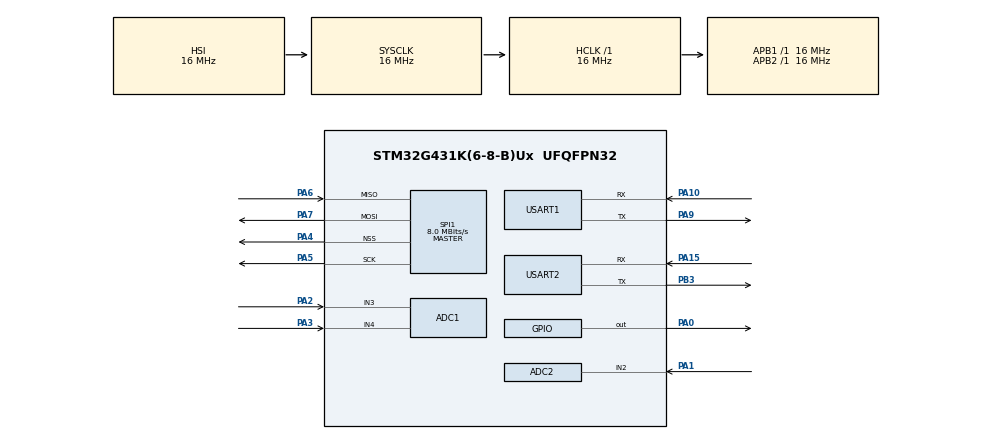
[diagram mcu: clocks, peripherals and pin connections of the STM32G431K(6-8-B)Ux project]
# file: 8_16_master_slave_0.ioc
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ADC1.Channel-0\#ChannelRegularConversion=ADC_CHANNEL_3
ADC1.NbrOfConversionFlag=1
ADC1.OffsetNumber-0\#ChannelRegularConversion=ADC_OFFSET_NONE
ADC1.Rank-0\#ChannelRegularConversion=1
ADC1.SamplingTime-0\#ChannelRegularConversion=ADC_SAMPLETIME_2CYCLES_5
ADC1.master=1
ADC2.Channel-0\#ChannelRegularConversion=ADC_CHANNEL_2
ADC2.NbrOfConversionFlag=1
ADC2.OffsetNumber-0\#ChannelRegularConversion=ADC_OFFSET_NONE
ADC2.Rank-0\#ChannelRegularConversion=1
ADC2.SamplingTime-0\#ChannelRegularConversion=ADC_SAMPLETIME_2CYCLES_5
Mcu.Family=STM32G4
Mcu.Name=STM32G431K(6-8-B)Ux
Mcu.Package=UFQFPN32
NVIC.PriorityGroup=NVIC_PRIORITYGROUP_4
PA0.Signal=GPIO_Output
PA1.Mode=IN2-Single-Ended
PA1.Signal=ADC2_IN2
PA10.Mode=Asynchronous
PA10.Signal=USART1_RX
PA13.Mode=Serial_Wire
PA13.Signal=SYS_JTMS-SWDIO
PA14.Mode=Serial_Wire
PA14.Signal=SYS_JTCK-SWCLK
PA15.Mode=Asynchronous
PA15.Signal=USART2_RX
PA2.Mode=IN3-Single-Ended
PA2.Signal=ADC1_IN3
PA3.Mode=IN4-Single-Ended
PA3.Signal=ADC1_IN4
PA4.Mode=NSS_Signal_Hard_Output
PA4.Signal=SPI1_NSS
PA5.Mode=Full_Duplex_Master
PA5.Signal=SPI1_SCK
PA6.Mode=Full_Duplex_Master
PA6.Signal=SPI1_MISO
PA7.Mode=Full_Duplex_Master
PA7.Signal=SPI1_MOSI
PA9.Mode=Asynchronous
PA9.Signal=USART1_TX
PB3.Mode=Asynchronous
PB3.Signal=USART2_TX
PF0-OSC_IN.Mode=HSE-External-Clock-Source
PF0-OSC_IN.Signal=RCC_OSC_IN
ProjectManager.HeapSize=0x200
ProjectManager.StackSize=0x400
ProjectManager.TargetToolchain=STM32CubeIDE
RCC.AHBFreq_Value=16000000
RCC.APB1Freq_Value=16000000
RCC.APB1TimFreq_Value=16000000
RCC.APB2Freq_Value=16000000
RCC.APB2TimFreq_Value=16000000
RCC.CortexFreq_Value=16000000
RCC.EXTERNAL_CLOCK_VALUE=12288000
RCC.HCLKFreq_Value=16000000
RCC.HSE_VALUE=8000000
RCC.HSI48_VALUE=48000000
RCC.HSI_VALUE=16000000
RCC.LSE_VALUE=32768
RCC.SYSCLKFreq_VALUE=16000000
RCC.USBFreq_Value=64000000
RCC.VCOOutputFreq_Value=128000000
SPI1.CalculateBaudRate=8.0 MBits/s
SPI1.Direction=SPI_DIRECTION_2LINES
SPI1.Mode=SPI_MODE_MASTER
SPI1.VirtualNSS=VM_NSSHARD
SPI1.VirtualType=VM_MASTER
USART1.VirtualMode-Asynchronous=VM_ASYNC
USART2.VirtualMode-Asynchronous=VM_ASYNC
VP_SYS_VS_DBSignals.Mode=DisableDeadBatterySignals
board=custom

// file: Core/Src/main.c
/* USER CODE BEGIN Header */
/**
 ******************************************************************************
 * @file           : main.c
 * @brief          : Main program body
 ******************************************************************************
 * @attention
 *
 * Includes full QEC.
 * Note: feature toggles / preprocessor macros / compile-time flags -> in main.h
 *
 * TODO: (coming next)
 * From modem.ino:		loopback_timing_test(), calibrate_spectral_tilt()
 * From spsa.ino:		spsa_adapt_CIC() and all its helper functions (write_CICLUTS, randn, etc.)
 * From captures.ino:	sdm_capture()
 * From verify.ino:		verify_cordic_atan2()
 * From max2850.ino:	set_bb_loopback()
 *
 ******************************************************************************
 */
/* USER CODE END Header */
#include "main.h"

/* USER CODE BEGIN Includes */
#include "app_log.h"	// UART printing
#include "fpga.h"
#include "max2850.h"
#include "max2851.h"
#include "fpga_regs.h"
#include "qec.h"
#include "captures.h"
#include "modem.h"
/* USER CODE END Includes */

/* USER CODE BEGIN PD */
// defines for testing
#define TEST_TX_GAIN 0x10 // TX power
#define TEST_TX_CHANNEL_MASK 0x01 // Use channel 1
#define TEST_RX_GAIN 15 // Receive gain
#define TEST_RX_CHANNEL 1 // Channel 1
#define TEST_TONE_FREQ_MHZ 5.0f // Transmit 5 MHz tone

/* USER CODE END PD */

ADC_HandleTypeDef hadc1;
ADC_HandleTypeDef hadc2;

SPI_HandleTypeDef hspi1;

UART_HandleTypeDef huart1;
UART_HandleTypeDef huart2;

void SystemClock_Config(void);
static void MX_GPIO_Init(void);
static void MX_ADC1_Init(void);
static void MX_ADC2_Init(void);
static void MX_SPI1_Init(void);
static void MX_USART1_UART_Init(void);
static void MX_USART2_UART_Init(void);
/* USER CODE BEGIN PFP */
void print_message(const char *message); // UART print (the same as app_log)
UART_HandleTypeDef* get_debug_uart(void); // access to debug UART handle
/* USER CODE END PFP */

int main(void) {

	/* MCU Configuration--------------------------------------------------------*/

	/* Reset of all peripherals, Initializes the Flash interface and the Systick. */
	HAL_Init();

	/* Configure the system clock */
	SystemClock_Config();

	/* Initialize all configured peripherals */
	MX_GPIO_Init();
	MX_ADC1_Init();
	MX_ADC2_Init();
	MX_SPI1_Init();
	MX_USART1_UART_Init();
	MX_USART2_UART_Init();
	/* USER CODE BEGIN 2 */
	app_log("\r\n- peripheral init\r\n");
	fpga_init(&hspi1); // initialize SPI for FPGA
	setup_reg(); // verify SPI com
	write_max2851_base_regs();
	write_max2850_base_regs();
	fpga_reg(); // This now sets the master/slave role

	HAL_Delay(1000); // Delay to let things settle. Necessary?

	/* USER CODE END 2 */

	/* Infinite loop */
	/* USER CODE BEGIN WHILE */
#if (RUN_DEFAULT_SEQ == 1)
        app_log("- Running Default Startup Sequence -\r\n");
        app_log("- Performing self-calibration (QEC)...\r\n");
        QEC();
        app_log("- Calibration complete.\r\n");

        #if (DEVICE_ROLE == ROLE_SLAVE)
            waitForKeyPress();
            find_best_rx_vga();
        #endif

        app_log("- Entering main link mode.\r\n");
    #endif

	while (1) {
		/* USER CODE END WHILE */

		/* USER CODE BEGIN 3 */
#if (RUN_DEFAULT_SEQ == 1)
            #if (DEVICE_ROLE == ROLE_MASTER)
                app_log("Master transmitting QPSK...\r\n");
                set_Tx(TEST_TX_GAIN, TEST_TX_CHANNEL_MASK);
                HAL_Delay(1000);
            #else // SLAVE
                app_log("Slave receiving...\r\n");
                set_Rx(0); // Ensure we are in Rx mode
                // The slave now repeatedly gets metrics
                // and telemetry, using the gain found during startup.
                for (int i = 0; i < 20; i++) {
                    get_modem_metric(0);
                    rx_telem();
                    HAL_Delay(50);
                }
            #endif
        #elif (RUN_QEC_TEST == 1)
            if(DEVICE_ROLE == ROLE_SLAVE) {
                 QEC();
            } else {
                app_log("Set DEVICE_ROLE to SLAVE to run QEC test.\r\n");
                HAL_Delay(5000);
            }
        #elif (RUN_VGA_TEST == 1)
            #if (DEVICE_ROLE == ROLE_MASTER)
                app_log("Master transmitting QPSK...\r\n");
                set_Tx(TEST_TX_GAIN, TEST_TX_CHANNEL_MASK);
                HAL_Delay(1000);
            #else // SLAVE
                app_log("\r\n- Starting VGA Gain Test -\r\n");
                set_Rx(0);
                find_best_rx_vga();
                app_log("- VGA Test complete. Repeating in 5 seconds. -\r\n");
                HAL_Delay(5000);
            #endif
        #elif (RUN_GAIN_TRACK_TEST == 1)
#if (DEVICE_ROLE == ROLE_SLAVE)
		app_log("\r\n- Starting Gain Track Test -\r\n");
		set_Rx(0);
		int16_t initial_gain = find_best_rx_vga();
		gain_track(initial_gain); // This function runs forever
#else
                app_log("Master transmitting QPSK for gain track test...\r\n");
                set_Tx(TEST_TX_GAIN, TEST_TX_CHANNEL_MASK);
                HAL_Delay(1000);
            #endif
#elif (RUN_IQ_CAPTURE_TEST == 1)
            app_log("\r\n- Starting IQ Capture Test -\r\n");
            app_log("- Setting up RF loopback path...\r\n");
            set_Tx(TEST_TX_GAIN, TEST_TX_CHANNEL_MASK);
            set_Rx(TEST_RX_GAIN);
            reg_write(REG_RX_MUX, TEST_RX_CHANNEL);
            app_log("- Generating %.2f MHz tone...\r\n", TEST_TONE_FREQ_MHZ);
            set_tx_tone_freq(TEST_TONE_FREQ_MHZ);
            HAL_Delay(100);
            rx_debug_capture();
            reg_write(REG_CTRL, reg_read(REG_CTRL) & ~CTRL_FORCE_CW_TONE);
            app_log("- Test complete. Repeating in 10 seconds. -\r\n");
            HAL_Delay(10000);
        #else
            app_log("No test selected. Idling.\r\n");
            HAL_Delay(5000);
        #endif
	}

}
/* USER CODE END 3 */

void SystemClock_Config(void) {
	RCC_OscInitTypeDef RCC_OscInitStruct = { 0 };
	RCC_ClkInitTypeDef RCC_ClkInitStruct = { 0 };

	/** Configure the main internal regulator output voltage
	 */
	HAL_PWREx_ControlVoltageScaling(PWR_REGULATOR_VOLTAGE_SCALE1);

	/** Initializes the RCC Oscillators according to the specified parameters
	 * in the RCC_OscInitTypeDef structure.
	 */
	RCC_OscInitStruct.OscillatorType = RCC_OSCILLATORTYPE_HSI;
	RCC_OscInitStruct.HSIState = RCC_HSI_ON;
	RCC_OscInitStruct.HSICalibrationValue = RCC_HSICALIBRATION_DEFAULT;
	RCC_OscInitStruct.PLL.PLLState = RCC_PLL_NONE;
	if (HAL_RCC_OscConfig(&RCC_OscInitStruct) != HAL_OK) {
		Error_Handler();
	}

	/** Initializes the CPU, AHB and APB buses clocks
	 */
	RCC_ClkInitStruct.ClockType = RCC_CLOCKTYPE_HCLK | RCC_CLOCKTYPE_SYSCLK
			| RCC_CLOCKTYPE_PCLK1 | RCC_CLOCKTYPE_PCLK2;
	RCC_ClkInitStruct.SYSCLKSource = RCC_SYSCLKSOURCE_HSI;
	RCC_ClkInitStruct.AHBCLKDivider = RCC_SYSCLK_DIV1;
	RCC_ClkInitStruct.APB1CLKDivider = RCC_HCLK_DIV1;
	RCC_ClkInitStruct.APB2CLKDivider = RCC_HCLK_DIV1;

	if (HAL_RCC_ClockConfig(&RCC_ClkInitStruct, FLASH_LATENCY_0) != HAL_OK) {
		Error_Handler();
	}
}

static void MX_ADC1_Init(void) {

	ADC_MultiModeTypeDef multimode = { 0 };
	ADC_ChannelConfTypeDef sConfig = { 0 };

	/** Common config
	 */
	hadc1.Instance = ADC1;
	hadc1.Init.ClockPrescaler = ADC_CLOCK_SYNC_PCLK_DIV2;
	hadc1.Init.Resolution = ADC_RESOLUTION_12B;
	hadc1.Init.DataAlign = ADC_DATAALIGN_RIGHT;
	hadc1.Init.GainCompensation = 0;
	hadc1.Init.ScanConvMode = ADC_SCAN_DISABLE;
	hadc1.Init.EOCSelection = ADC_EOC_SINGLE_CONV;
	hadc1.Init.LowPowerAutoWait = DISABLE;
	hadc1.Init.ContinuousConvMode = DISABLE;
	hadc1.Init.NbrOfConversion = 1;
	hadc1.Init.DiscontinuousConvMode = DISABLE;
	hadc1.Init.ExternalTrigConv = ADC_SOFTWARE_START;
	hadc1.Init.ExternalTrigConvEdge = ADC_EXTERNALTRIGCONVEDGE_NONE;
	hadc1.Init.DMAContinuousRequests = DISABLE;
	hadc1.Init.Overrun = ADC_OVR_DATA_PRESERVED;
	hadc1.Init.OversamplingMode = DISABLE;
	if (HAL_ADC_Init(&hadc1) != HAL_OK) {
		Error_Handler();
	}

	/** Configure the ADC multi-mode
	 */
	multimode.Mode = ADC_MODE_INDEPENDENT;
	if (HAL_ADCEx_MultiModeConfigChannel(&hadc1, &multimode) != HAL_OK) {
		Error_Handler();
	}

	/** Configure Regular Channel
	 */
	sConfig.Channel = ADC_CHANNEL_3;
	sConfig.Rank = ADC_REGULAR_RANK_1;
	sConfig.SamplingTime = ADC_SAMPLETIME_2CYCLES_5;
	sConfig.SingleDiff = ADC_SINGLE_ENDED;
	sConfig.OffsetNumber = ADC_OFFSET_NONE;
	sConfig.Offset = 0;
	if (HAL_ADC_ConfigChannel(&hadc1, &sConfig) != HAL_OK) {
		Error_Handler();
	}

}

static void MX_ADC2_Init(void) {

	ADC_ChannelConfTypeDef sConfig = { 0 };

	/** Common config
	 */
	hadc2.Instance = ADC2;
	hadc2.Init.ClockPrescaler = ADC_CLOCK_SYNC_PCLK_DIV2;
	hadc2.Init.Resolution = ADC_RESOLUTION_12B;
	hadc2.Init.DataAlign = ADC_DATAALIGN_RIGHT;
	hadc2.Init.GainCompensation = 0;
	hadc2.Init.ScanConvMode = ADC_SCAN_DISABLE;
	hadc2.Init.EOCSelection = ADC_EOC_SINGLE_CONV;
	hadc2.Init.LowPowerAutoWait = DISABLE;
	hadc2.Init.ContinuousConvMode = DISABLE;
	hadc2.Init.NbrOfConversion = 1;
	hadc2.Init.DiscontinuousConvMode = DISABLE;
	hadc2.Init.ExternalTrigConv = ADC_SOFTWARE_START;
	hadc2.Init.ExternalTrigConvEdge = ADC_EXTERNALTRIGCONVEDGE_NONE;
	hadc2.Init.DMAContinuousRequests = DISABLE;
	hadc2.Init.Overrun = ADC_OVR_DATA_PRESERVED;
	hadc2.Init.OversamplingMode = DISABLE;
	if (HAL_ADC_Init(&hadc2) != HAL_OK) {
		Error_Handler();
	}

	/** Configure Regular Channel
	 */
	sConfig.Channel = ADC_CHANNEL_2;
	sConfig.Rank = ADC_REGULAR_RANK_1;
	sConfig.SamplingTime = ADC_SAMPLETIME_2CYCLES_5;
	sConfig.SingleDiff = ADC_SINGLE_ENDED;
	sConfig.OffsetNumber = ADC_OFFSET_NONE;
	sConfig.Offset = 0;
	if (HAL_ADC_ConfigChannel(&hadc2, &sConfig) != HAL_OK) {
		Error_Handler();
	}

}

static void MX_SPI1_Init(void) {
	hspi1.Instance = SPI1;
	hspi1.Init.Mode = SPI_MODE_MASTER;
	hspi1.Init.Direction = SPI_DIRECTION_2LINES;
	hspi1.Init.DataSize = SPI_DATASIZE_8BIT;
	hspi1.Init.CLKPolarity = SPI_POLARITY_LOW;
	hspi1.Init.CLKPhase = SPI_PHASE_1EDGE;
	hspi1.Init.NSS = SPI_NSS_HARD_OUTPUT;
	hspi1.Init.BaudRatePrescaler = SPI_BAUDRATEPRESCALER_8;
	hspi1.Init.FirstBit = SPI_FIRSTBIT_MSB;
	hspi1.Init.TIMode = SPI_TIMODE_DISABLE;
	hspi1.Init.CRCCalculation = SPI_CRCCALCULATION_DISABLE;
	hspi1.Init.CRCPolynomial = 7;
	hspi1.Init.CRCLength = SPI_CRC_LENGTH_DATASIZE;
	hspi1.Init.NSSPMode = SPI_NSS_PULSE_ENABLE;
	if (HAL_SPI_Init(&hspi1) != HAL_OK) {
		Error_Handler();
	}
}

static void MX_USART1_UART_Init(void) {

	huart1.Instance = USART1;
	huart1.Init.BaudRate = 115200;
	huart1.Init.WordLength = UART_WORDLENGTH_8B;
	huart1.Init.StopBits = UART_STOPBITS_1;
	huart1.Init.Parity = UART_PARITY_NONE;
	huart1.Init.Mode = UART_MODE_TX_RX;
	huart1.Init.HwFlowCtl = UART_HWCONTROL_NONE;
	huart1.Init.OverSampling = UART_OVERSAMPLING_16;
	huart1.Init.OneBitSampling = UART_ONE_BIT_SAMPLE_DISABLE;
	huart1.Init.ClockPrescaler = UART_PRESCALER_DIV1;
	huart1.AdvancedInit.AdvFeatureInit = UART_ADVFEATURE_NO_INIT;
	if (HAL_UART_Init(&huart1) != HAL_OK) {
		Error_Handler();
	}
	if (HAL_UARTEx_SetTxFifoThreshold(&huart1, UART_TXFIFO_THRESHOLD_1_8)
			!= HAL_OK) {
		Error_Handler();
	}
	if (HAL_UARTEx_SetRxFifoThreshold(&huart1, UART_RXFIFO_THRESHOLD_1_8)
			!= HAL_OK) {
		Error_Handler();
	}
	if (HAL_UARTEx_DisableFifoMode(&huart1) != HAL_OK) {
		Error_Handler();
	}

}

static void MX_USART2_UART_Init(void) {

	huart2.Instance = USART2;
	huart2.Init.BaudRate = 115200;
	huart2.Init.WordLength = UART_WORDLENGTH_8B;
	huart2.Init.StopBits = UART_STOPBITS_1;
	huart2.Init.Parity = UART_PARITY_NONE;
	huart2.Init.Mode = UART_MODE_TX_RX;
	huart2.Init.HwFlowCtl = UART_HWCONTROL_NONE;
	huart2.Init.OverSampling = UART_OVERSAMPLING_16;
	huart2.Init.OneBitSampling = UART_ONE_BIT_SAMPLE_DISABLE;
	huart2.Init.ClockPrescaler = UART_PRESCALER_DIV1;
	huart2.AdvancedInit.AdvFeatureInit = UART_ADVFEATURE_NO_INIT;
	if (HAL_UART_Init(&huart2) != HAL_OK) {
		Error_Handler();
	}
	if (HAL_UARTEx_SetTxFifoThreshold(&huart2, UART_TXFIFO_THRESHOLD_1_8)
			!= HAL_OK) {
		Error_Handler();
	}
	if (HAL_UARTEx_SetRxFifoThreshold(&huart2, UART_RXFIFO_THRESHOLD_1_8)
			!= HAL_OK) {
		Error_Handler();
	}
	if (HAL_UARTEx_DisableFifoMode(&huart2) != HAL_OK) {
		Error_Handler();
	}

}

static void MX_GPIO_Init(void) {
	GPIO_InitTypeDef GPIO_InitStruct = { 0 };

	/* GPIO Ports Clock Enable */
	__HAL_RCC_GPIOF_CLK_ENABLE();
	__HAL_RCC_GPIOA_CLK_ENABLE();
	__HAL_RCC_GPIOB_CLK_ENABLE();

	/*Configure GPIO pin Output Level */
	HAL_GPIO_WritePin(GPIOA, GPIO_PIN_0, GPIO_PIN_RESET);

	/*Configure GPIO pin : PA0 */
	GPIO_InitStruct.Pin = GPIO_PIN_0;
	GPIO_InitStruct.Mode = GPIO_MODE_OUTPUT_PP;
	GPIO_InitStruct.Pull = GPIO_NOPULL;
	GPIO_InitStruct.Speed = GPIO_SPEED_FREQ_LOW;
	HAL_GPIO_Init(GPIOA, &GPIO_InitStruct);

}

/* USER CODE BEGIN 4 */
// for app_log use
void print_message(const char *message) {
	HAL_UART_Transmit(&huart1, (uint8_t*) message, strlen(message), 100);
}
UART_HandleTypeDef* get_debug_uart(void) {
	return &huart1;
}
/* USER CODE END 4 */

void Error_Handler(void) {
	__disable_irq();
	while (1) {
	}
}
